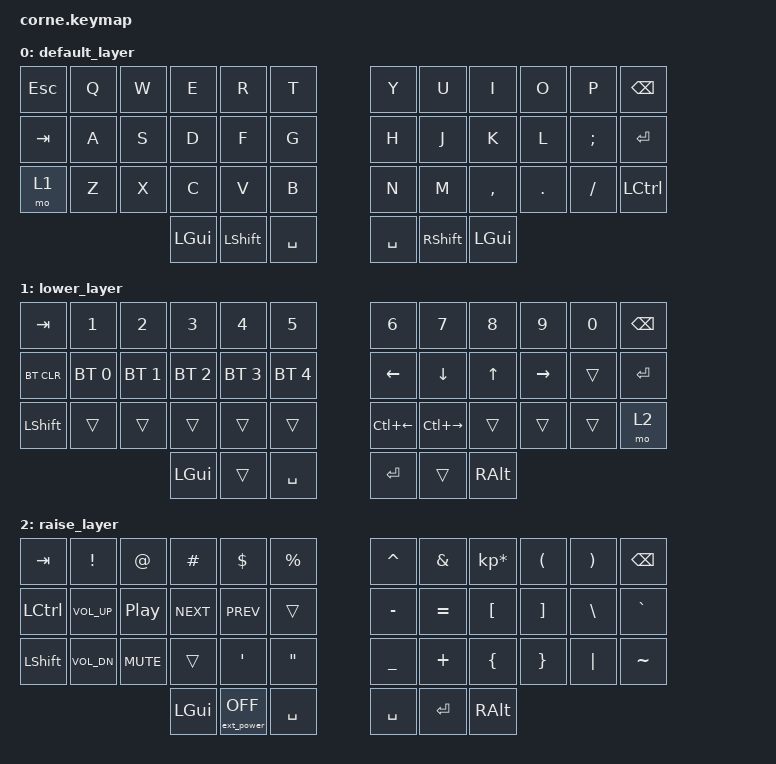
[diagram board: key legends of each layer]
/*
 * Copyright (c) 2020 The ZMK Contributors
 *
 * SPDX-License-Identifier: MIT
 */

#include <behaviors.dtsi>
#include <dt-bindings/zmk/keys.h>
#include <dt-bindings/zmk/bt.h>
#include <dt-bindings/zmk/ext_power.h>

/ {
        keymap {
                compatible = "zmk,keymap";

                default_layer {

// .--------------------------------------------------------------.       .-----------------------------------------------------------.
// |   ESC        |    Q    |    W   |   E    |    R    |    T    |       |   Y   |    U    |    I    |    O    |     P    |   BKSP   |
// |--------------+---------+--------+--------+---------+---------|       |-------+---------+---------+---------+----------+----------|
// |   Tab        |    A    |    S   |   D    |    F    |    G    |       |   H   |    J    |    K    |    L    |     ;    |   ENT    |
// |--------------+---------+--------+--------+---------+---------|       |-------+---------+---------+---------+----------+----------|
// |   LAYER 1    |    Z    |    X   |   C    |    V    |    B    |       |   N   |    M    |    ,    |    .    |     /    |   CTRL   |
// '---------------------------------+--------+---------+---------+       |-------+---------+---------+-------------------------------'
//                                   |  GUI   |  SHIFT  |   SPC   |       |  SPC  |  SHIFT  |  GUI    |
//                                   '--------+---------+---------'       '-------+---------+---------'
             
                        bindings = <
   &kp ESC   &kp Q &kp W &kp E &kp R &kp T   &kp Y &kp U  &kp I     &kp O   &kp P    &kp BSPC
   &kp TAB   &kp A &kp S &kp D &kp F &kp G   &kp H &kp J  &kp K     &kp L   &kp SEMI &kp RET
   &mo 1     &kp Z &kp X &kp C &kp V &kp B   &kp N &kp M  &kp COMMA &kp DOT &kp FSLH &kp LCTRL
              &kp LGUI &kp LSHFT &kp SPACE   &kp SPACE &kp RSHIFT &kp LGUI
                        >;
                };
                lower_layer {
// .--------------------------------------------------------------.       .-----------------------------------------------------------.
// |   TAB        |    1    |    2   |   3    |    4    |    5    |       |   6   |    7    |    8    |    9    |     0    |   BKSP   |
// |--------------+---------+--------+--------+---------+---------|       |-------+---------+---------+---------+----------+----------|
// |   BTCLR      |   BT0   |   BT1  |  BT2   |   BT3   |   BT4   |       |  LFT  |   DWN   |   UP    |   RGT   |          |   ENT    |
// |--------------+---------+--------+--------+---------+---------|       |-------+---------+---------+---------+----------+----------|
// |   SHIFT      |         |        |        |         |         |       |CTRL+L | CTRL+R  |         |         |          | LAYER 2  |
// '---------------------------------+--------+---------+---------+       |-------+---------+---------+-------------------------------'
//                                   |  GUI   |         |   SPC   |       |  ENT  |         |  GUI    |
//                                   '--------+---------+---------'       '-------+---------+---------'
             
                        bindings = <
   &kp TAB    &kp N1       &kp N2       &kp N3       &kp N4       &kp N5         &kp N6        &kp N7        &kp N8 &kp N9    &kp N0 &kp BSPC
   &bt BT_CLR &bt BT_SEL 0 &bt BT_SEL 1 &bt BT_SEL 2 &bt BT_SEL 3 &bt BT_SEL 4   &kp LEFT      &kp DOWN      &kp UP &kp RIGHT &trans &kp RET
   &kp LSHFT  &trans       &trans       &trans       &trans       &trans         &kp LC(LEFT)  &kp LC(RIGHT) &trans &trans    &trans &mo 2
                          	        &kp LGUI     &trans       &kp SPACE      &kp RET       &trans        &kp RALT
                        >;
                };

                raise_layer {
// .--------------------------------------------------------------.       .-----------------------------------------------------------.
// |   TAB        |    !    |    @   |   #    |    $    |    %    |       |   ^   |    &    |    *    |    (    |     )    |   BKSP   |
// |--------------+---------+--------+--------+---------+---------|       |-------+---------+---------+---------+----------+----------|
// |   CTRL       | VOL_UP  | PLY/PSE|  NEXT  |  PREV   |         |       |   -   |    =    |    [    |    ]    |     \    |     `    |
// |--------------+---------+--------+--------+---------+---------|       |-------+---------+---------+---------+----------+----------|
// |   SHIFT      | VOL_DWN |  MUTE  |        |    '    |    "    |       |   _   |    +    |    {    |    }    |     |    |     ~    |
// '---------------------------------+--------+---------+---------+       |-------+---------+---------+-------------------------------'
//                                   |  GUI   | EP_OFF  |   SPC   |       |  SPC  |   ENT   |  ALT    |
//                                   '--------+---------+---------'       '-------+---------+---------'

                        bindings = <
   &kp TAB   &kp EXCL      &kp AT     &kp HASH          &kp DLLR   &kp PRCNT   &kp CARET &kp AMPS  &kp KP_MULTIPLY &kp LPAR &kp RPAR &kp BSPC
   &kp LCTRL &kp C_VOL_UP  &kp C_PP   &kp C_NEXT        &kp C_PREV &trans      &kp MINUS &kp EQUAL &kp LBKT        &kp RBKT &kp BSLH &kp GRAVE
   &kp LSHFT &kp C_VOL_DN  &kp C_MUTE &trans            &kp SQT    &kp DQT     &kp UNDER &kp PLUS  &kp LBRC        &kp RBRC &kp PIPE &kp TILDE
                    	   &kp LGUI   &ext_power EP_OFF &kp SPACE  &kp SPACE   &kp RET    &kp RALT
                        >;
                };
        };
};
